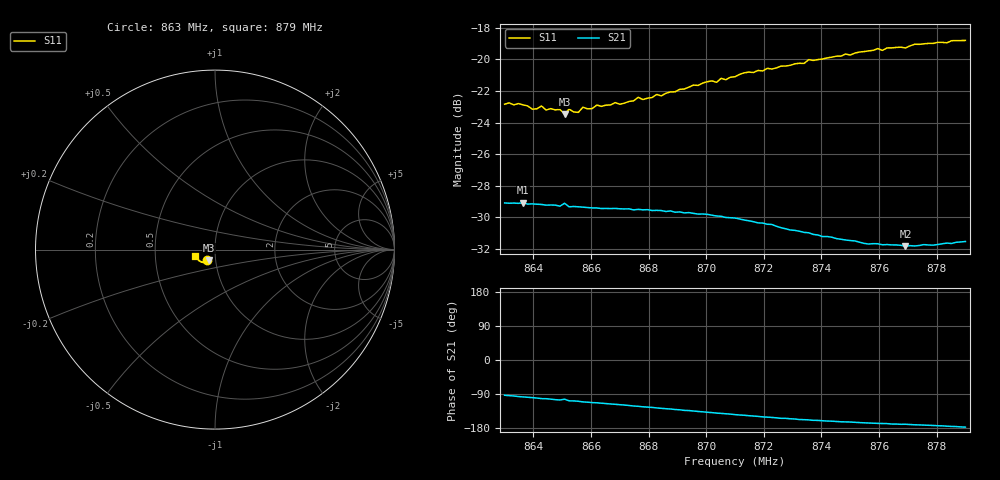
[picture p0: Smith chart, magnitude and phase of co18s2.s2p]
# HZ S RI R 50
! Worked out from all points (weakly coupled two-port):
!   101 points, 863 MHz to 879 MHz, reference 50 ohm
!   highest |S21| = -29.08 dB at 863.64 MHz (marker M1); lowest = -31.8 dB at 876.92 MHz (marker M2)
!   lowest |S11| = -23.5 dB at 865.08 MHz (marker M3), VSWR 1.14, Z = 46.3 - j5.33 ohm
!   |S11| at or under -10 dB: start of sweep to end of sweep
!   S12 and S22 are empty: the file has one direction only
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8.63e8  -0.0445 -0.0568  -0.00185 -0.035  0 0  0 0
8.6364e8  -0.0439 -0.0568  -0.00455 -0.0349  0 0  0 0
8.6396e8  -0.0419 -0.0555  -0.00563 -0.0344  0 0  0 0
8.6428e8  -0.0409 -0.0583  -0.00715 -0.034  0 0  0 0
8.6444e8  -0.0403 -0.0562  -0.00728 -0.0338  0 0  0 0
8.6492e8  -0.04 -0.0568  -0.00918 -0.033  0 0  0 0
8.6508e8  -0.0349 -0.0573  -0.00814 -0.0341  0 0  0 0
8.6524e8  -0.0382 -0.0581  -0.0104 -0.0325  0 0  0 0
8.6556e8  -0.0378 -0.0564  -0.011 -0.0323  0 0  0 0
8.6572e8  -0.0377 -0.0597  -0.012 -0.0319  0 0  0 0
8.6604e8  -0.0369 -0.0593  -0.0129 -0.0313  0 0  0 0
8.662e8  -0.0386 -0.0604  -0.0132 -0.0312  0 0  0 0
8.6716e8  -0.0362 -0.063  -0.0162 -0.0294  0 0  0 0
8.6764e8  -0.0386 -0.0653  -0.0179 -0.0283  0 0  0 0
8.678e8  -0.0385 -0.0639  -0.0185 -0.0278  0 0  0 0
8.6844e8  -0.0388 -0.0661  -0.0202 -0.0263  0 0  0 0
8.71e8  -0.0512 -0.0717  -0.0255 -0.0184  0 0  0 0
8.7372e8  -0.0691 -0.0712  -0.0261 -0.0099  0 0  0 0
8.7644e8  -0.0916 -0.0586  -0.0254 -0.00493  0 0  0 0
8.7692e8  -0.0939 -0.0548  -0.0252 -0.00464  0 0  0 0
8.7724e8  -0.0981 -0.0533  -0.0253 -0.00401  0 0  0 0
8.79e8  -0.1087 -0.0369  -0.0265 -0.00132  0 0  0 0
